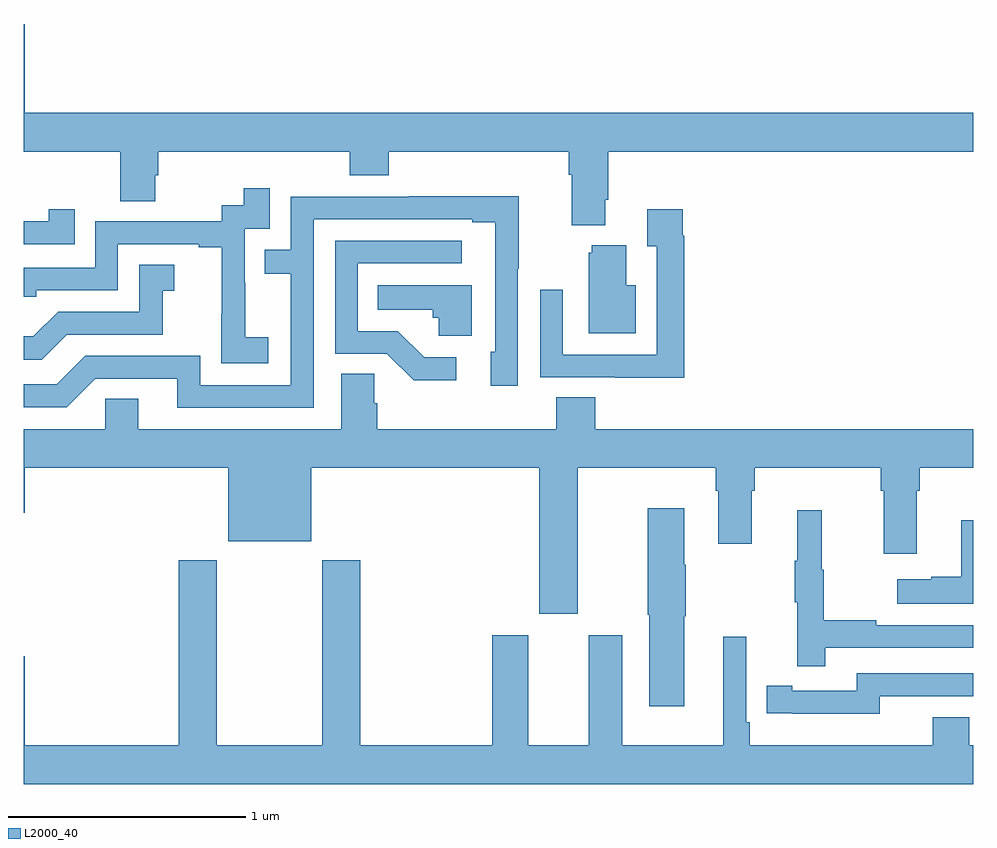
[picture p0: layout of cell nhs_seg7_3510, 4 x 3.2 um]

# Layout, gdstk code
import gdstk
lib = gdstk.Library(unit=1e-6, precision=1e-09)
def P(c, l, *ps):  # polygons
    for p in ps: c.add(gdstk.Polygon(p, *l))
L2000_40 = (2000, 40)

nhs_seg7_3510 = lib.new_cell('nhs_seg7_3510')
P(nhs_seg7_3510, L2000_40, [(335.449,1079.002),(335.462,1079.002),(335.462,1079.204),(337,1079.204),(337,1079.368),(333.004,1079.368),(333.004,1079.743),(333,1079.743),(333,1079.204),(333.406,1079.204),(333.406,1078.996),(333.553,1078.996),(333.553,1079.106),(333.566,1079.106),(333.566,1079.204),(334.373,1079.204),(334.373,1079.105),(334.538,1079.105),(334.538,1079.204),(335.297,1079.204),(335.297,1079.108),(335.309,1079.108),(335.309,1078.895),(335.449,1078.895)],
  [(334.03,1078.423),(333.932,1078.423),(333.932,1078.652),(333.93,1078.652),(333.93,1078.881),(334.035,1078.881),(334.035,1079.05),(333.927,1079.05),(333.927,1078.98),(333.834,1078.98),(333.834,1078.911),(333.3,1078.911),(333.3,1078.716),(333,1078.716),(333,1078.593),(333.051,1078.593),(333.051,1078.62),(333.396,1078.62),(333.396,1078.815),(333.737,1078.815),(333.737,1078.803),(333.833,1078.803),(333.833,1078.519),(333.832,1078.519),(333.832,1078.313),(334.03,1078.313)],
  [(334.221,1078.92),(334.889,1078.92),(334.889,1078.908),(334.986,1078.908),(334.986,1078.362),(334.967,1078.362),(334.967,1078.218),(335.082,1078.218),(335.082,1078.711),(335.085,1078.711),(335.085,1079.018),(334.621,1079.018),(334.621,1079.016),(334.125,1079.016),(334.125,1078.791),(334.015,1078.791),(334.015,1078.69),(334.125,1078.69),(334.125,1078.221),(333.744,1078.221),(333.744,1078.344),(333.258,1078.344),(333.138,1078.224),(333,1078.224),(333,1078.128),(333.18,1078.128),(333.3,1078.248),(333.647,1078.248),(333.647,1078.125),(334.221,1078.125)],
  [(333.215,1078.963),(333.104,1078.963),(333.104,1078.911),(333,1078.911),(333,1078.815),(333.215,1078.815)],
  [(335.783,1078.85),(335.776,1078.85),(335.776,1078.963),(335.627,1078.963),(335.627,1078.807),(335.667,1078.807),(335.667,1078.35),(335.271,1078.35),(335.271,1078.624),(335.175,1078.624),(335.175,1078.254),(335.491,1078.254),(335.491,1078.253),(335.783,1078.253)],
  [(334.822,1078.338),(334.687,1078.338),(334.576,1078.449),(334.407,1078.449),(334.407,1078.734),(334.846,1078.734),(334.846,1078.83),(334.311,1078.83),(334.311,1078.353),(334.53,1078.353),(334.643,1078.241),(334.822,1078.241)],
  [(335.578,1078.642),(335.539,1078.642),(335.539,1078.81),(335.393,1078.81),(335.393,1078.779),(335.381,1078.779),(335.381,1078.439),(335.578,1078.439)],
  [(333.181,1078.434),(333.585,1078.434),(333.585,1078.619),(333.634,1078.619),(333.634,1078.729),(333.486,1078.729),(333.486,1078.53),(333.144,1078.53),(333.04,1078.426),(333,1078.426),(333,1078.329),(333.076,1078.329)],
  [(334.888,1078.642),(334.492,1078.642),(334.492,1078.538),(334.723,1078.538),(334.723,1078.506),(334.749,1078.506),(334.749,1078.43),(334.888,1078.43)],
  [(335.335,1077.872),(335.915,1077.872),(335.915,1077.776),(335.927,1077.776),(335.927,1077.552),(336.067,1077.552),(336.067,1077.776),(336.08,1077.776),(336.08,1077.872),(336.611,1077.872),(336.611,1077.776),(336.623,1077.776),(336.623,1077.51),(336.763,1077.51),(336.763,1077.776),(336.776,1077.776),(336.776,1077.872),(337,1077.872),(337,1078.036),(335.408,1078.036),(335.408,1078.169),(335.243,1078.169),(335.243,1078.036),(334.49,1078.036),(334.49,1078.145),(334.476,1078.145),(334.476,1078.268),(334.337,1078.268),(334.337,1078.036),(333.481,1078.036),(333.481,1078.163),(333.342,1078.163),(333.342,1078.036),(333,1078.036),(333,1077.684),(333.004,1077.684),(333.004,1077.872),(333.86,1077.872),(333.86,1077.563),(334.21,1077.563),(334.21,1077.872),(335.171,1077.872),(335.171,1077.258),(335.335,1077.258)],
  [(335.782,1077.247),(335.79,1077.247),(335.79,1077.464),(335.782,1077.464),(335.782,1077.703),(335.629,1077.703),(335.629,1077.253),(335.636,1077.253),(335.636,1076.868),(335.782,1076.868)],
  [(336.377,1077.114),(337,1077.114),(337,1077.21),(336.593,1077.21),(336.593,1077.23),(336.37,1077.23),(336.37,1077.444),(336.362,1077.444),(336.362,1077.694),(336.26,1077.694),(336.26,1077.481),(336.249,1077.481),(336.249,1077.307),(336.26,1077.307),(336.26,1077.036),(336.377,1077.036)],
  [(337,1077.652),(336.95,1077.652),(336.95,1077.413),(336.824,1077.413),(336.824,1077.403),(336.681,1077.403),(336.681,1077.299),(337,1077.299)],
  [(337,1076.704),(336.983,1076.704),(336.983,1076.821),(336.83,1076.821),(336.83,1076.704),(336.059,1076.704),(336.059,1076.8),(336.045,1076.8),(336.045,1077.16),(335.948,1077.16),(335.948,1076.704),(335.521,1076.704),(335.521,1077.166),(335.381,1077.166),(335.381,1076.704),(335.125,1076.704),(335.125,1077.166),(334.973,1077.166),(334.973,1076.704),(334.418,1076.704),(334.418,1077.484),(334.258,1077.484),(334.258,1076.704),(333.813,1076.704),(333.813,1077.484),(333.653,1077.484),(333.653,1076.704),(333.004,1076.704),(333.004,1077.079),(333,1077.079),(333,1076.54),(337,1076.54)],
  [(336.606,1076.91),(337,1076.91),(337,1077.006),(336.51,1077.006),(336.51,1076.934),(336.238,1076.934),(336.238,1076.954),(336.13,1076.954),(336.13,1076.838),(336.238,1076.838),(336.238,1076.837),(336.606,1076.837)])

lib.write_gds('nhs_seg7_3510.gds')
